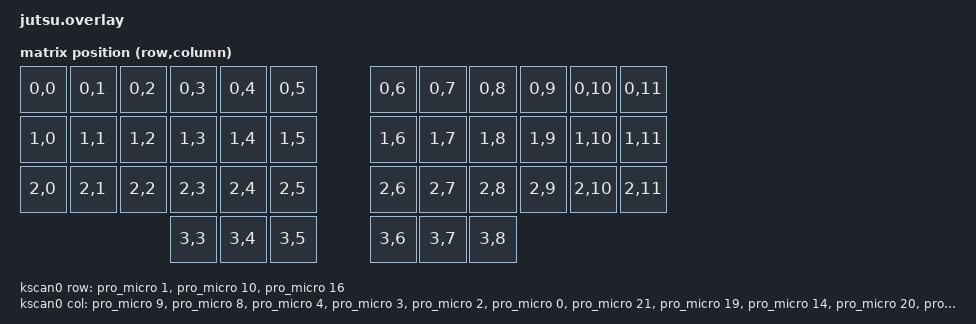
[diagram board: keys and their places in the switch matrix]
#include <dt-bindings/zmk/matrix_transform.h>

&pinctrl {
    i2c1_default: i2c1_default {
        group1 {
            psels = <NRF_PSEL(TWIM_SCL, 1, 00)>,
                    <NRF_PSEL(TWIM_SDA, 0, 11)>;
         };
     };
    i2c1_sleep: i2c1_sleep {
        group1 {
            psels = <NRF_PSEL(TWIM_SCL, 1, 00)>,
                    <NRF_PSEL(TWIM_SDA, 0, 11)>;
         };
     };
}

/ {
    chosen {
        zmk,kscan = &kscan0;
        zmk,matrix_transform = &default_transform;
    };

    default_transform: keymap_transform_0 {
        compatible = "zmk,matrix-transform";
        columns = <12>;
        rows = <3>;

        map = <
RC(0,0) RC(0,1) RC(0,2) RC(0,3) RC(0,4) RC(0,5) RC(0,6) RC(0,7) RC(0,8) RC(0,9) RC(0,10) RC(0,11)
RC(1,0) RC(1,1) RC(1,2) RC(1,3) RC(1,4) RC(1,5) RC(1,6) RC(1,7) RC(1,8) RC(1,9) RC(1,10) RC(1,11)
RC(2,0) RC(2,1) RC(2,2) RC(2,3) RC(2,4) RC(2,5) RC(2,6) RC(2,7) RC(2,8) RC(2,9) RC(2,10) RC(2,11)
                        RC(3,3) RC(3,4) RC(3,5) RC(3,6) RC(3,7) RC(3,8)
        >;
    };

    kscan0: kscan_0 {
        compatible = "zmk,kscan-gpio-matrix";
        label = "KSCAN";
        diode-direction = "col2row";

        col-gpios
            = <&pro_micro 9 GPIO_ACTIVE_HIGH>
            , <&pro_micro 8 GPIO_ACTIVE_HIGH>
            , <&pro_micro 4 GPIO_ACTIVE_HIGH>
            , <&pro_micro 3 GPIO_ACTIVE_HIGH>
            , <&pro_micro 2 GPIO_ACTIVE_HIGH>
            , <&pro_micro 0 GPIO_ACTIVE_HIGH>
            , <&pro_micro 21 GPIO_ACTIVE_HIGH>
            , <&pro_micro 19 GPIO_ACTIVE_HIGH>
            , <&pro_micro 14 GPIO_ACTIVE_HIGH>
            , <&pro_micro 20 GPIO_ACTIVE_HIGH>
            , <&pro_micro 15 GPIO_ACTIVE_HIGH>
            , <&pro_micro 18 GPIO_ACTIVE_HIGH>
            ;

        row-gpios
            = <&pro_micro 1 (GPIO_ACTIVE_HIGH | GPIO_PULL_DOWN)>
            , <&pro_micro 10 (GPIO_ACTIVE_HIGH | GPIO_PULL_DOWN)>
            , <&pro_micro 16 (GPIO_ACTIVE_HIGH | GPIO_PULL_DOWN)>
            ;
    };

    &i2c1 {
    compatible = "nordic,nrf-twim";
    status = "okay";
    pinctrl-0 = <&i2c1_default>;
    pinctrl-1 = <&i2c1_sleep>;
    pinctrl-names = "default", "sleep";
    clock-frequency = <I2C_BITRATE_FAST>;
    trackpad: trackpad@2c {
        compatible = "cirque,gen4";
        status = "okay";
        reg = <0x2C>;
        dr-gpios = <&pro_micro 5 (GPIO_ACTIVE_LOW)>;
    };
};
